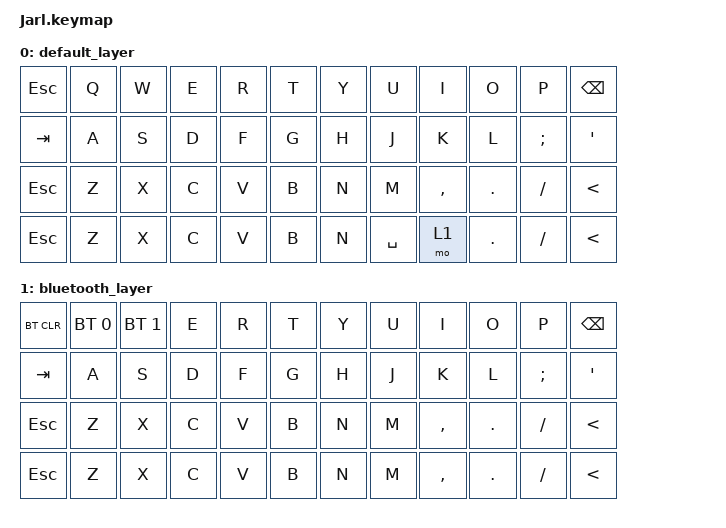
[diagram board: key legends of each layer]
#include <behaviors.dtsi>
#include <dt-bindings/zmk/keys.h>
#include <dt-bindings/zmk/bt.h>

/ {
	keymap {
		compatible = "zmk,keymap";

		default_layer {
			bindings = <
		&kp ESC      &kp Q     &kp W      &kp E     &kp R        &kp T          &kp Y      &kp U      &kp I        &kp O     &kp P      &kp BSPC     
		&kp TAB      &kp A     &kp S      &kp D     &kp F        &kp G          &kp H      &kp J      &kp K        &kp L     &kp SEMI   &kp SQT     
		&kp ESC      &kp Z     &kp X      &kp C     &kp V        &kp B          &kp N      &kp M      &kp COMMA    &kp DOT   &kp FSLH   &kp LT    
		&kp ESC      &kp Z     &kp X      &kp C     &kp V        &kp B          &kp N      &kp SPACE      &mo 1    &kp DOT   &kp FSLH   &kp LT    
			>;

		};

		bluetooth_layer {
			bindings = <
		&bt BT_CLR      &bt BT_SEL 0     &bt BT_SEL 1      &kp E     &kp R        &kp T          &kp Y      &kp U      &kp I        &kp O     &kp P      &kp BSPC     
		&kp TAB      &kp A     &kp S      &kp D     &kp F        &kp G          &kp H      &kp J      &kp K        &kp L     &kp SEMI   &kp SQT     
		&kp ESC      &kp Z     &kp X      &kp C     &kp V        &kp B          &kp N      &kp M      &kp COMMA    &kp DOT   &kp FSLH   &kp LT    
		&kp ESC      &kp Z     &kp X      &kp C     &kp V        &kp B          &kp N      &kp M      &kp COMMA    &kp DOT   &kp FSLH   &kp LT    
			>;

		};
	};
};
